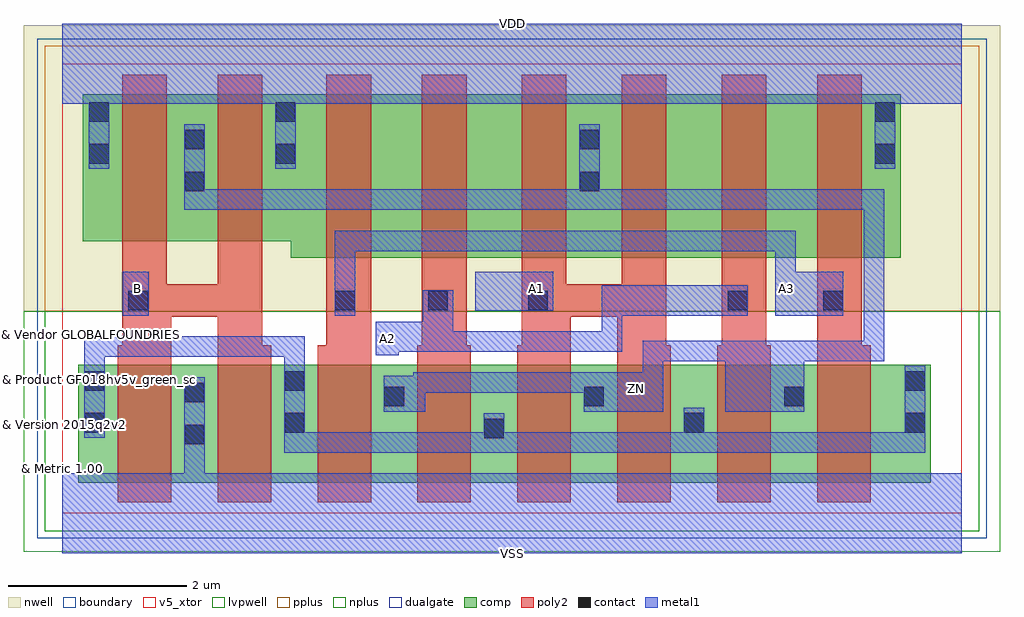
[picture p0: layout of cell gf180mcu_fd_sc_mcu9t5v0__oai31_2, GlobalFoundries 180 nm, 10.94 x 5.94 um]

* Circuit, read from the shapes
.subckt gf180mcu_fd_sc_mcu9t5v0__oai31_2 A1 A2 A3 B VDD VSS ZN
XM1 VSS B n1 VSUBS nfet_05v0 w=1.32u l=0.6u m=2
XM2 ZN A3 n1 VSUBS nfet_05v0 w=1.32u l=0.6u m=2
XM3 n1 A2 ZN VSUBS nfet_05v0 w=1.32u l=0.6u m=2
XM4 ZN A1 n1 VSUBS nfet_05v0 w=1.32u l=0.6u m=2
XM5 ZN B VDD n2 pfet_05v0 w=1.645u l=0.5u m=2
XM6 n3 A3 VDD n2 pfet_05v0 w=1.83u l=0.5u
XM7 n4 A2 n3 n2 pfet_05v0 w=1.83u l=0.5u
XM8 ZN A1 n4 n2 pfet_05v0 w=1.83u l=0.5u
XM9 n5 A1 ZN n2 pfet_05v0 w=1.83u l=0.5u
XM10 n6 A2 n5 n2 pfet_05v0 w=1.83u l=0.5u
XM11 VDD A3 n6 n2 pfet_05v0 w=1.83u l=0.5u
.ends

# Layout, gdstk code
import gdstk
lib = gdstk.Library(unit=1e-6, precision=1e-09)
def R(c, l, rs):  # rectangles x0, y0, x1, y1
    for r in rs: c.add(gdstk.rectangle(r[:2], r[2:], *l))
def A(c, l, x, y, w, h, nx, ny, dx, dy):  # array of equal rectangles
    R(c, l, [(x+i*dx, y+j*dy, x+i*dx+w, y+j*dy+h) for i in range(nx) for j in range(ny)])
def P(c, l, *ps):  # polygons
    for p in ps: c.add(gdstk.Polygon(p, *l))
boundary = (0, 0)
nwell = (21, 0)
comp = (22, 0)
poly2 = (30, 0)
pplus = (31, 0)
nplus = (32, 0)
contact = (33, 0)
metal1 = (34, 0)
dualgate = (55, 0)
v5_xtor = (112, 1)
lvpwell = (204, 0)

gf180mcu_fd_sc_mcu9t5v0_ = lib.new_cell('gf180mcu_fd_sc_mcu9t5v0__oai31_2')
R(gf180mcu_fd_sc_mcu9t5v0_, boundary, [(0,0,10.08,5.04)])
R(gf180mcu_fd_sc_mcu9t5v0_, nwell, [(-0.43,2.265,10.51,5.47)])
R(gf180mcu_fd_sc_mcu9t5v0_, comp, [(0.18,0.345,9.735,1.665)])
P(gf180mcu_fd_sc_mcu9t5v0_, comp, [(2.56,2.865),(2.56,3.05),(0.23,3.05),(0.23,4.695),(9.4,4.695),(9.4,2.865)])
P(gf180mcu_fd_sc_mcu9t5v0_, poly2, [(0.62,0.125),(0.62,1.885),(0.67,1.885),(0.67,4.915),(1.17,4.915),(1.17,2.565),(1.74,2.565),(1.74,4.915),(2.24,4.915),(2.24,1.885),(2.34,1.885),(2.34,0.125),(1.74,0.125),(1.74,2.205),(1.22,2.205),(1.22,0.125)],
  [(2.86,0.125),(2.86,1.885),(2.96,1.885),(2.96,4.915),(3.46,4.915),(3.46,0.125)],
  [(3.98,0.125),(3.98,1.885),(4.03,1.885),(4.03,4.915),(4.53,4.915),(4.53,1.885),(4.58,1.885),(4.58,0.125)],
  [(5.1,0.125),(5.1,1.885),(5.15,1.885),(5.15,4.915),(5.65,4.915),(5.65,2.565),(6.27,2.565),(6.27,4.915),(6.77,4.915),(6.77,1.885),(6.82,1.885),(6.82,0.125),(6.22,0.125),(6.22,2.205),(5.7,2.205),(5.7,0.125)],
  [(7.34,0.125),(7.34,1.885),(7.39,1.885),(7.39,4.915),(7.89,4.915),(7.89,1.885),(7.94,1.885),(7.94,0.125)],
  [(8.46,0.125),(8.46,4.915),(8.96,4.915),(8.96,1.885),(9.06,1.885),(9.06,0.125)])
R(gf180mcu_fd_sc_mcu9t5v0_, pplus, [(-0.2,2.265,10.28,5.24)])
R(gf180mcu_fd_sc_mcu9t5v0_, nplus, [(-0.2,-0.2,10.28,2.265)])
A(gf180mcu_fd_sc_mcu9t5v0_, contact, 3.61, 1.2, 0.22, 0.22, 3, 1, 2.24, 0)
R(gf180mcu_fd_sc_mcu9t5v0_, contact, [(1.37,0.775,1.59,0.995), (4.73,0.84,4.95,1.06), (0.25,0.905,0.47,1.125), (2.49,0.905,2.71,1.125), (6.97,0.905,7.19,1.125), (9.445,0.905,9.665,1.125), (1.37,1.245,1.59,1.465), (0.25,1.375,0.47,1.595), (2.49,1.375,2.71,1.595), (9.445,1.375,9.665,1.595), (0.74,2.275,0.96,2.495), (3.06,2.275,3.28,2.495), (4.1,2.275,4.32,2.495), (5.22,2.275,5.44,2.495), (7.46,2.275,7.68,2.495), (8.53,2.275,8.75,2.495), (1.37,3.61,1.59,3.83), (5.8,3.61,6.02,3.83), (0.3,3.92,0.52,4.14), (2.39,3.92,2.61,4.14), (9.11,3.92,9.33,4.14), (1.37,4.08,1.59,4.3), (5.8,4.08,6.02,4.3), (0.3,4.39,0.52,4.61), (2.39,4.39,2.61,4.61), (9.11,4.39,9.33,4.61)])
R(gf180mcu_fd_sc_mcu9t5v0_, metal1, [(0.675,2.215,0.97,2.71), (4.63,2.27,5.5,2.71)])
P(gf180mcu_fd_sc_mcu9t5v0_, metal1, [(3.51,1.77),(3.51,2.15),(4.04,2.15),(4.04,2.5),(4.38,2.5),(4.38,2.04),(6.045,2.04),(6.045,2.555),(7.685,2.555),(7.685,2.215),(6.275,2.215),(6.275,1.81),(3.77,1.81),(3.77,1.77)],
  [(3.055,2.215),(3.055,3.17),(8.22,3.17),(8.22,2.71),(8.755,2.71),(8.755,2.215),(7.99,2.215),(7.99,2.94),(3.285,2.94),(3.285,2.215)],
  [(3.605,1.14),(3.605,1.54),(3.935,1.54),(3.935,1.58),(6.505,1.58),(6.505,1.935),(8.985,1.935),(8.985,3.4),(1.365,3.4),(1.365,4.36),(1.595,4.36),(1.595,3.63),(5.795,3.63),(5.795,4.36),(6.025,4.36),(6.025,3.63),(9.215,3.63),(9.215,1.705),(8.315,1.705),(8.315,1.14),(7.43,1.14),(7.43,1.705),(6.735,1.705),(6.735,1.14),(5.845,1.14),(5.845,1.35),(4.065,1.35),(4.065,1.14)],
  [(2.485,0.68),(2.485,1.755),(0.475,1.755),(0.475,0.845),(0.245,0.845),(0.245,1.985),(2.715,1.985),(2.715,0.91),(4.725,0.91),(4.725,1.12),(4.955,1.12),(4.955,0.91),(6.965,0.91),(6.965,1.185),(7.195,1.185),(7.195,0.91),(9.44,0.91),(9.44,1.655),(9.67,1.655),(9.67,0.68)],
  [(0,-0.45),(0,0.45),(1.365,0.45),(1.365,1.525),(1.595,1.525),(1.595,0.45),(10.08,0.45),(10.08,-0.45)],
  [(0.295,3.86),(0.295,4.59),(0,4.59),(0,5.49),(10.08,5.49),(10.08,4.59),(9.335,4.59),(9.335,3.86),(9.105,3.86),(9.105,4.59),(2.615,4.59),(2.615,3.86),(2.385,3.86),(2.385,4.59),(0.525,4.59),(0.525,3.86)])
R(gf180mcu_fd_sc_mcu9t5v0_, dualgate, [(-0.28,-0.28,10.36,5.32)])
R(gf180mcu_fd_sc_mcu9t5v0_, v5_xtor, [(0,0,10.08,5.04)])
R(gf180mcu_fd_sc_mcu9t5v0_, lvpwell, [(-0.43,-0.43,10.51,2.265)])
gf180mcu_fd_sc_mcu9t5v0_.add(gdstk.Label('A1', (5.32,2.52), layer=34, texttype=10))
gf180mcu_fd_sc_mcu9t5v0_.add(gdstk.Label('A2', (3.64,1.96), layer=34, texttype=10))
gf180mcu_fd_sc_mcu9t5v0_.add(gdstk.Label('A3', (8.12,2.52), layer=34, texttype=10))
gf180mcu_fd_sc_mcu9t5v0_.add(gdstk.Label('B', (0.84,2.52), layer=34, texttype=10))
gf180mcu_fd_sc_mcu9t5v0_.add(gdstk.Label('VDD', (5.04,5.49), layer=34, texttype=10))
gf180mcu_fd_sc_mcu9t5v0_.add(gdstk.Label('VSS', (5.04,-0.45), layer=34, texttype=10))
gf180mcu_fd_sc_mcu9t5v0_.add(gdstk.Label('ZN', (6.44,1.4), layer=34, texttype=10))
gf180mcu_fd_sc_mcu9t5v0_.add(gdstk.Label('& Vendor GLOBALFOUNDRIES', (0,2), layer=63, texttype=63))
gf180mcu_fd_sc_mcu9t5v0_.add(gdstk.Label('& Product GF018hv5v_green_sc9', (0,1.5), layer=63, texttype=63))
gf180mcu_fd_sc_mcu9t5v0_.add(gdstk.Label('& Version 2015q2v2', (0,1), layer=63, texttype=63))
gf180mcu_fd_sc_mcu9t5v0_.add(gdstk.Label('& Metric 1.00', (0,0.5), layer=63, texttype=63))

lib.write_gds('gf180mcu_fd_sc_mcu9t5v0__oai31_2.gds')
